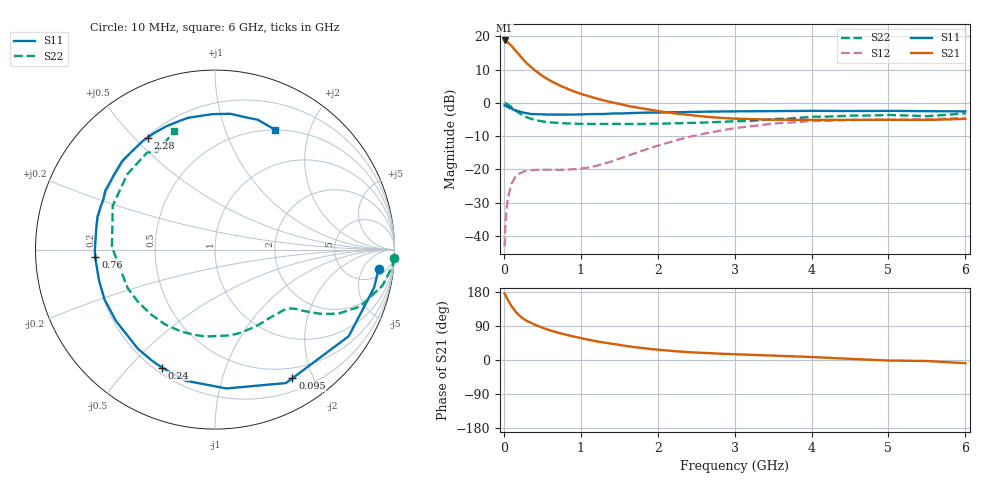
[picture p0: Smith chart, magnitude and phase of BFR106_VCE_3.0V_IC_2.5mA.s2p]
! Infineon Technologies  Discrete & RF Semiconductors
! BFR106
! VCE =  3.0 V,  IC =  2.5 mA
! Common Emitter S-Parameters:  Nov 2015
# GHz  S  MA  R  50
!  f  S11  S21  S12  S22
! GHz  MAG  ANG  MAG  ANG  MAG  ANG  MAG  ANG
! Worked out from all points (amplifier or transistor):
!   210 points, 10 MHz to 6 GHz, reference 50 ohm
!   highest |S21| = 18.8 dB at 10 MHz (marker M1)
!   |S21| within 3 dB of that: start of sweep to 149.4 MHz
!   unconditionally stable (mu >= 1): 743.5 MHz to 2.036 GHz; 3.733 GHz to end of sweep
!   at 185 MHz: K = 0.27, MSG = 18.2 dB, |S12| = -21.6 dB
!   at 1.52 GHz: K = 1.18, MAG = 5.6 dB, |S12| = -16.6 dB
!   at 6 GHz: K = 1.02, MAG = -1.0 dB, |S12| = -4.5 dB
!   S11 on the Smith chart (normalised r, x): 10 MHz: 8, -11; 95 MHz: 0.36, -1.71; 240 MHz: 0.23, -0.62; 760 MHz: 0.20, -0.03; 2.28 GHz: 0.21, +0.55; 6 GHz: 0.50, +1.50
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0.01  0.9176 -6.9  8.711 175.1  0.007 86.0  0.9978 -2.6
0.025  0.9006 -16.5  8.515 169.5  0.0175 78.5  0.9866 -6.2
0.05  0.8877 -32.9  8.205 158.7  0.0344 71.9  0.9552 -12.0
0.095  0.8367 -59.0  7.324 143.8  0.0581 59.2  0.8761 -20.4
0.1  0.8422 -62.0  7.26 142.0  0.0608 58.4  0.8686 -21.4
0.15  0.7763 -85.3  6.157 127.5  0.0771 47.2  0.7752 -27.4
0.2  0.7485 -102.8  5.293 117.7  0.0864 40.3  0.7027 -30.7
0.24  0.7205 -114.1  4.667 111.0  0.0909 36.1  0.6559 -32.5
0.26  0.7123 -119.1  4.4 108.0  0.0928 34.5  0.637 -33.3
0.3  0.6999 -127.9  3.929 103.0  0.0956 32.1  0.6078 -34.4
0.4  0.68 -144.3  3.121 93.1  0.0983 28.4  0.554 -36.5
0.5  0.6751 -155.7  2.548 85.0  0.0989 27.4  0.5252 -38.6
0.58  0.6683 -163.2  2.246 79.7  0.099 28.1  0.5132 -40.7
0.76  0.6677 -176.4  1.762 69.3  0.0988 32.1  0.496 -46.4
1.02  0.6736 168.5  1.35 57.0  0.1034 42.5  0.4849 -55.8
1.4  0.6939 151.9  1.02 43.0  0.1317 58.1  0.4849 -72.2
2.02  0.7174 129.3  0.749 26.9  0.2308 63.8  0.4878 -103.0
2.28  0.728 121.1  0.683 22.4  0.2822 61.1  0.4945 -117.1
3.1  0.7486 99.5  0.576 14.5  0.4299 44.6  0.5319 -161.7
4.1  0.7598 82.3  0.555 6.9  0.5369 22.7  0.6204 153.1
5.1  0.7591 70.9  0.557 -1.7  0.5664 6.3  0.6542 124.2
6  0.7467 63.4  0.575 -8.5  0.5945 -4.4  0.6972 109.2
